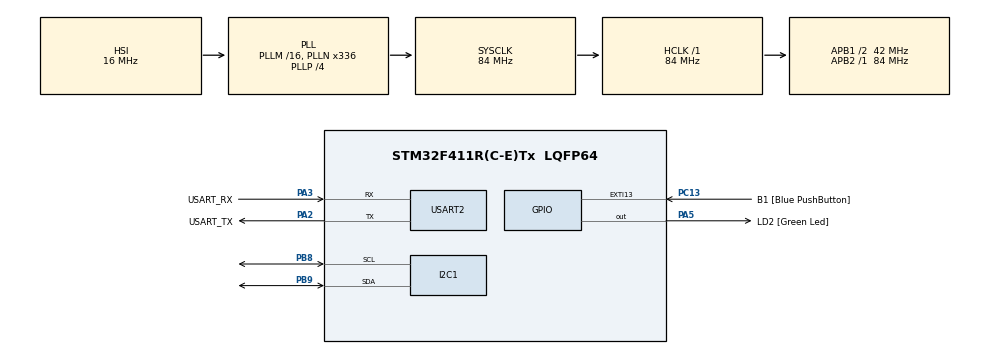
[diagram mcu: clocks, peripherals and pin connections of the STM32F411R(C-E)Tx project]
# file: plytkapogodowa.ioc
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Mcu.Family=STM32F4
Mcu.Name=STM32F411R(C-E)Tx
Mcu.Package=LQFP64
NVIC.PriorityGroup=NVIC_PRIORITYGROUP_0
PA13.GPIO_Label=TMS
PA13.Mode=Serial_Wire
PA13.Signal=SYS_JTMS-SWDIO
PA14.GPIO_Label=TCK
PA14.Mode=Serial_Wire
PA14.Signal=SYS_JTCK-SWCLK
PA2.GPIO_Label=USART_TX
PA2.Mode=Asynchronous
PA2.Signal=USART2_TX
PA3.GPIO_Label=USART_RX
PA3.Mode=Asynchronous
PA3.Signal=USART2_RX
PA5.GPIO_Label=LD2 [Green Led]
PA5.Signal=GPIO_Output
PB3.GPIO_Label=SWO
PB3.Signal=SYS_JTDO-SWO
PB8.Mode=I2C
PB8.Signal=I2C1_SCL
PB9.Mode=I2C
PB9.Signal=I2C1_SDA
PC13-ANTI_TAMP.GPIO_Label=B1 [Blue PushButton]
PC13-ANTI_TAMP.GPIO_ModeDefaultEXTI=GPIO_MODE_IT_FALLING
PC13-ANTI_TAMP.Signal=GPXTI13
PC14-OSC32_IN.Mode=LSE-External-Oscillator
PC14-OSC32_IN.Signal=RCC_OSC32_IN
PC15-OSC32_OUT.Mode=LSE-External-Oscillator
PC15-OSC32_OUT.Signal=RCC_OSC32_OUT
PH0\ -\ OSC_IN.Mode=HSE-External-Clock-Source
PH0\ -\ OSC_IN.Signal=RCC_OSC_IN
PH1\ -\ OSC_OUT.Mode=HSE-External-Clock-Source
PH1\ -\ OSC_OUT.Signal=RCC_OSC_OUT
ProjectManager.HeapSize=0x200
ProjectManager.StackSize=0x400
ProjectManager.TargetToolchain=STM32CubeIDE
RCC.48MHZClocksFreq_Value=84000000
RCC.AHBFreq_Value=84000000
RCC.APB1CLKDivider=RCC_HCLK_DIV2
RCC.APB1Freq_Value=42000000
RCC.APB1TimFreq_Value=84000000
RCC.APB2Freq_Value=84000000
RCC.APB2TimFreq_Value=84000000
RCC.CortexFreq_Value=84000000
RCC.FLatency-AdvancedSettings=FLASH_LATENCY_2
RCC.HCLKFreq_Value=84000000
RCC.HSE_VALUE=8000000
RCC.HSI_VALUE=16000000
RCC.PLLN=336
RCC.PLLP=RCC_PLLP_DIV4
RCC.SYSCLKFreq_VALUE=84000000
RCC.SYSCLKSource=RCC_SYSCLKSOURCE_PLLCLK
RCC.VCOOutputFreq_Value=336000000
USART2.VirtualMode=VM_ASYNC
board=NUCLEO-F411RE

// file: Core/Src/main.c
/* USER CODE BEGIN Header */
/**
  ******************************************************************************
  * @file           : main.c
  * @brief          : Main program body
  ******************************************************************************
  * @attention
  *
  * Copyright (c) 2026 STMicroelectronics.
  * All rights reserved.
  *
  * This software is licensed under terms that can be found in the LICENSE file
  * in the root directory of this software component.
  * If no LICENSE file comes with this software, it is provided AS-IS.
  *
  ******************************************************************************
  */
/* USER CODE END Header */
#include "main.h"

/* USER CODE BEGIN Includes */
#include <string.h>   // To jest potrzebne dla memset
#include <stdio.h>    // To jest potrzebne dla sprintf
#include "i2c-lcd.h"d
#include "bme280.h"
/* USER CODE END Includes */

I2C_HandleTypeDef hi2c1;

UART_HandleTypeDef huart2;

/* USER CODE BEGIN PV */
char msg[64];
HAL_StatusTypeDef result;
uint8_t i;
struct bme280_dev dev;
struct bme280_data comp_data;
int8_t rslt = BME280_OK;
char lcd_buf[16];
uint8_t screen_mode = 0;
/* USER CODE END PV */

void SystemClock_Config(void);
static void MX_GPIO_Init(void);
static void MX_USART2_UART_Init(void);
static void MX_I2C1_Init(void);
/* USER CODE BEGIN PFP */
int8_t user_i2c_read(uint8_t reg_addr, uint8_t *reg_data, uint32_t len, void *intf_ptr) {
    // Adres 0x76 przesunięty o 1 w lewo to 0xEC
    if (HAL_I2C_Mem_Read(&hi2c1, (0x76 << 1), reg_addr, I2C_MEMADD_SIZE_8BIT, reg_data, len, 100) == HAL_OK)
        return 0; // Sukces dla Bosch API to 0
    return -1;
}

int8_t user_i2c_write(uint8_t reg_addr, const uint8_t *reg_data, uint32_t len, void *intf_ptr) {
    if (HAL_I2C_Mem_Write(&hi2c1, (0x76 << 1), reg_addr, I2C_MEMADD_SIZE_8BIT, (uint8_t *)reg_data, len, 100) == HAL_OK)
        return 0;
    return -1;
}

void user_delay_us(uint32_t period, void *intf_ptr) {
    HAL_Delay(period / 1000 + 1); // Prosta konwersja na ms dla HAL_Delay
}
/* USER CODE END PFP */

int main(void)
{

  /* MCU Configuration--------------------------------------------------------*/

  /* Reset of all peripherals, Initializes the Flash interface and the Systick. */
  HAL_Init();

  /* Configure the system clock */
  SystemClock_Config();

  /* Initialize all configured peripherals */
  MX_GPIO_Init();
  MX_USART2_UART_Init();
  MX_I2C1_Init();
  /* USER CODE BEGIN 2 */
  // 1. Inicjalizacja ekranu (musi być pierwsza!)
  lcd_init();

  // 2. Czyszczenie (dla pewności)
  lcd_clear();

  // 3. Ustawienie kursora: wiersz 0 (pierwszy), kolumna 0
  lcd_put_cur(0, 0);

  // 4. Wysyłanie tekstu
  lcd_send_string("STM32 Station");

  // 5. Ustawienie kursora: wiersz 1 (drugi), kolumna 0
  lcd_put_cur(1, 0);

  // 6. Twoja inżynierska ksywka
  lcd_init();
  lcd_clear();
  lcd_send_string("BME280 Init...");

  dev.read = user_i2c_read;
  dev.write = user_i2c_write;
  dev.delay_us = user_delay_us;
  // Linia z dev.dev_id usunięta - adres jest w funkcjach read/write

  rslt = bme280_init(&dev);

  // Jeśli rslt jest OK, to idziemy dalej
  lcd_clear();
  if (rslt == 0) {
      lcd_send_string("BME Ready!");
      bme280_set_sensor_mode(BME280_NORMAL_MODE, &dev);
  } else {
      lcd_send_string("BME Error!");
  }
  HAL_Delay(1000);
  /* USER CODE END 2 */

  /* Infinite loop */
  /* USER CODE BEGIN WHILE */
  while (1)
  {
	  /* USER CODE BEGIN WHILE */
	  bme280_get_sensor_data(BME280_ALL, &comp_data, &dev);

	      lcd_clear();
	      lcd_put_cur(0, 0);

	      switch(screen_mode) {
	          case 0: // Temperatura
	              lcd_send_string("TEMP: ");
	              sprintf(lcd_buf, "%.2f C", comp_data.temperature);
	              lcd_send_string(lcd_buf);
	              screen_mode = 1;
	              break;
	          case 1: // Wilgotność
	              lcd_send_string("HUMID: ");
	              sprintf(lcd_buf, "%.2f %%", comp_data.humidity);
	              lcd_send_string(lcd_buf);
	              screen_mode = 2;
	              break;
	          case 2: // Ciśnienie
	              lcd_send_string("PRESS: ");
	              sprintf(lcd_buf, "%.1f hPa", comp_data.pressure / 100.0);
	              lcd_send_string(lcd_buf);
	              screen_mode = 0;
	              break;
	      }

	      lcd_put_cur(1, 0);
	      lcd_send_string("MDunowski");

	      HAL_Delay(3000); // Zmiana ekranu co 3 sekundy
	  }
    /* USER CODE END WHILE */

  }

void SystemClock_Config(void)
{
  RCC_OscInitTypeDef RCC_OscInitStruct = {0};
  RCC_ClkInitTypeDef RCC_ClkInitStruct = {0};

  /** Configure the main internal regulator output voltage
  */
  __HAL_RCC_PWR_CLK_ENABLE();
  __HAL_PWR_VOLTAGESCALING_CONFIG(PWR_REGULATOR_VOLTAGE_SCALE1);

  /** Initializes the RCC Oscillators according to the specified parameters
  * in the RCC_OscInitTypeDef structure.
  */
  RCC_OscInitStruct.OscillatorType = RCC_OSCILLATORTYPE_HSI;
  RCC_OscInitStruct.HSIState = RCC_HSI_ON;
  RCC_OscInitStruct.HSICalibrationValue = RCC_HSICALIBRATION_DEFAULT;
  RCC_OscInitStruct.PLL.PLLState = RCC_PLL_ON;
  RCC_OscInitStruct.PLL.PLLSource = RCC_PLLSOURCE_HSI;
  RCC_OscInitStruct.PLL.PLLM = 16;
  RCC_OscInitStruct.PLL.PLLN = 336;
  RCC_OscInitStruct.PLL.PLLP = RCC_PLLP_DIV4;
  RCC_OscInitStruct.PLL.PLLQ = 4;
  if (HAL_RCC_OscConfig(&RCC_OscInitStruct) != HAL_OK)
  {
    Error_Handler();
  }

  /** Initializes the CPU, AHB and APB buses clocks
  */
  RCC_ClkInitStruct.ClockType = RCC_CLOCKTYPE_HCLK|RCC_CLOCKTYPE_SYSCLK
                              |RCC_CLOCKTYPE_PCLK1|RCC_CLOCKTYPE_PCLK2;
  RCC_ClkInitStruct.SYSCLKSource = RCC_SYSCLKSOURCE_PLLCLK;
  RCC_ClkInitStruct.AHBCLKDivider = RCC_SYSCLK_DIV1;
  RCC_ClkInitStruct.APB1CLKDivider = RCC_HCLK_DIV2;
  RCC_ClkInitStruct.APB2CLKDivider = RCC_HCLK_DIV1;

  if (HAL_RCC_ClockConfig(&RCC_ClkInitStruct, FLASH_LATENCY_2) != HAL_OK)
  {
    Error_Handler();
  }
}

static void MX_I2C1_Init(void)
{

  hi2c1.Instance = I2C1;
  hi2c1.Init.ClockSpeed = 100000;
  hi2c1.Init.DutyCycle = I2C_DUTYCYCLE_2;
  hi2c1.Init.OwnAddress1 = 0;
  hi2c1.Init.AddressingMode = I2C_ADDRESSINGMODE_7BIT;
  hi2c1.Init.DualAddressMode = I2C_DUALADDRESS_DISABLE;
  hi2c1.Init.OwnAddress2 = 0;
  hi2c1.Init.GeneralCallMode = I2C_GENERALCALL_DISABLE;
  hi2c1.Init.NoStretchMode = I2C_NOSTRETCH_DISABLE;
  if (HAL_I2C_Init(&hi2c1) != HAL_OK)
  {
    Error_Handler();
  }

}

static void MX_USART2_UART_Init(void)
{

  huart2.Instance = USART2;
  huart2.Init.BaudRate = 115200;
  huart2.Init.WordLength = UART_WORDLENGTH_8B;
  huart2.Init.StopBits = UART_STOPBITS_1;
  huart2.Init.Parity = UART_PARITY_NONE;
  huart2.Init.Mode = UART_MODE_TX_RX;
  huart2.Init.HwFlowCtl = UART_HWCONTROL_NONE;
  huart2.Init.OverSampling = UART_OVERSAMPLING_16;
  if (HAL_UART_Init(&huart2) != HAL_OK)
  {
    Error_Handler();
  }

}

static void MX_GPIO_Init(void)
{
  GPIO_InitTypeDef GPIO_InitStruct = {0};

  /* GPIO Ports Clock Enable */
  __HAL_RCC_GPIOC_CLK_ENABLE();
  __HAL_RCC_GPIOH_CLK_ENABLE();
  __HAL_RCC_GPIOA_CLK_ENABLE();
  __HAL_RCC_GPIOB_CLK_ENABLE();

  /*Configure GPIO pin Output Level */
  HAL_GPIO_WritePin(LD2_GPIO_Port, LD2_Pin, GPIO_PIN_RESET);

  /*Configure GPIO pin : B1_Pin */
  GPIO_InitStruct.Pin = B1_Pin;
  GPIO_InitStruct.Mode = GPIO_MODE_IT_FALLING;
  GPIO_InitStruct.Pull = GPIO_NOPULL;
  HAL_GPIO_Init(B1_GPIO_Port, &GPIO_InitStruct);

  /*Configure GPIO pin : LD2_Pin */
  GPIO_InitStruct.Pin = LD2_Pin;
  GPIO_InitStruct.Mode = GPIO_MODE_OUTPUT_PP;
  GPIO_InitStruct.Pull = GPIO_NOPULL;
  GPIO_InitStruct.Speed = GPIO_SPEED_FREQ_LOW;
  HAL_GPIO_Init(LD2_GPIO_Port, &GPIO_InitStruct);

}

void Error_Handler(void)
{
  __disable_irq();
  while (1)
  {
  }
}
